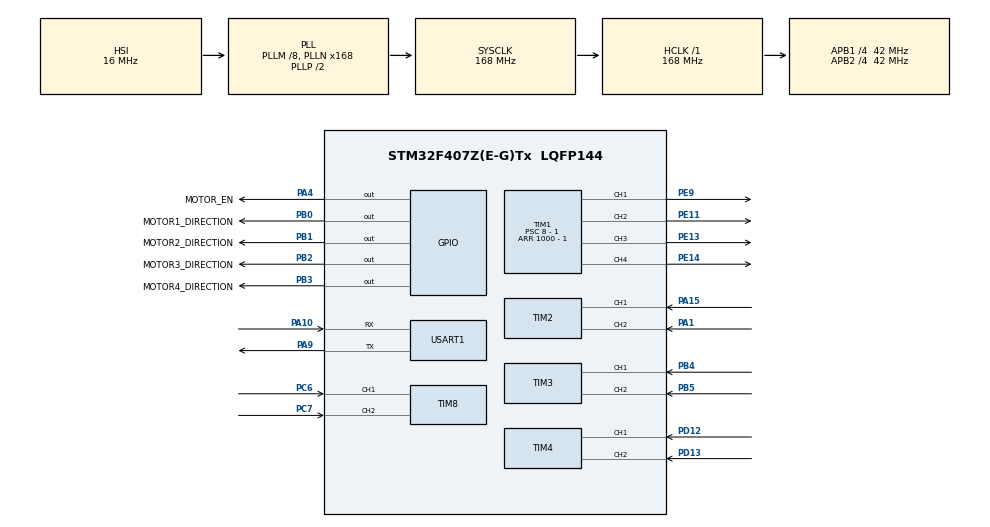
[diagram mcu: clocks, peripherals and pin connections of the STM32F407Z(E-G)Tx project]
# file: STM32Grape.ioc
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FREERTOS.Mutexes01=debugUartMutex,Dynamic,NULL
FREERTOS.Tasks01=defaultTask,24,128,StartDefaultTask,Default,NULL,Dynamic,NULL,NULL;robotMotion,24,1024,RobotMotion,Default,NULL,Dynamic,NULL,NULL
Mcu.Family=STM32F4
Mcu.Name=STM32F407Z(E-G)Tx
Mcu.Package=LQFP144
NVIC.PriorityGroup=NVIC_PRIORITYGROUP_4
NVIC.TIM6_DAC_IRQn=true\:15\:0\:false\:false\:true\:false\:false\:true
NVIC.TIM7_IRQn=true\:5\:0\:false\:false\:true\:true\:true\:true
NVIC.TimeBase=TIM6_DAC_IRQn
NVIC.TimeBaseIP=TIM6
NVIC.USART1_IRQn=true\:5\:0\:false\:false\:true\:true\:true\:true
PA1.Signal=S_TIM2_CH2
PA10.Mode=Asynchronous
PA10.Signal=USART1_RX
PA13.Mode=Serial_Wire
PA13.Signal=SYS_JTMS-SWDIO
PA14.Mode=Serial_Wire
PA14.Signal=SYS_JTCK-SWCLK
PA15.Signal=S_TIM2_CH1_ETR
PA4.GPIO_Label=MOTOR_EN
PA4.GPIO_Speed=GPIO_SPEED_FREQ_LOW
PA4.Signal=GPIO_Output
PA9.Mode=Asynchronous
PA9.Signal=USART1_TX
PB0.GPIO_Label=MOTOR1_DIRECTION
PB0.GPIO_Speed=GPIO_SPEED_FREQ_VERY_HIGH
PB0.Signal=GPIO_Output
PB1.GPIO_Label=MOTOR2_DIRECTION
PB1.GPIO_Speed=GPIO_SPEED_FREQ_VERY_HIGH
PB1.Signal=GPIO_Output
PB2.GPIO_Label=MOTOR3_DIRECTION
PB2.GPIO_Speed=GPIO_SPEED_FREQ_VERY_HIGH
PB2.Signal=GPIO_Output
PB3.GPIO_Label=MOTOR4_DIRECTION
PB3.GPIO_Speed=GPIO_SPEED_FREQ_VERY_HIGH
PB3.Signal=GPIO_Output
PB4.Signal=S_TIM3_CH1
PB5.Signal=S_TIM3_CH2
PC6.Signal=S_TIM8_CH1
PC7.Signal=S_TIM8_CH2
PD12.Signal=S_TIM4_CH1
PD13.Signal=S_TIM4_CH2
PE11.Signal=S_TIM1_CH2
PE13.Signal=S_TIM1_CH3
PE14.Signal=S_TIM1_CH4
PE9.Signal=S_TIM1_CH1
PH0-OSC_IN.Mode=HSE-External-Oscillator
PH0-OSC_IN.Signal=RCC_OSC_IN
PH1-OSC_OUT.Mode=HSE-External-Oscillator
PH1-OSC_OUT.Signal=RCC_OSC_OUT
ProjectManager.HeapSize=0x200
ProjectManager.StackSize=0x400
ProjectManager.TargetToolchain=STM32CubeIDE
RCC.48MHZClocksFreq_Value=84000000
RCC.AHBFreq_Value=168000000
RCC.APB1CLKDivider=RCC_HCLK_DIV4
RCC.APB1Freq_Value=42000000
RCC.APB1TimFreq_Value=84000000
RCC.APB2CLKDivider=RCC_HCLK_DIV4
RCC.APB2Freq_Value=42000000
RCC.APB2TimFreq_Value=84000000
RCC.CortexFreq_Value=168000000
RCC.HCLKFreq_Value=168000000
RCC.HSE_VALUE=25000000
RCC.HSI_VALUE=16000000
RCC.LSE_VALUE=32768
RCC.PLLM=8
RCC.PLLN=168
RCC.SYSCLKFreq_VALUE=168000000
RCC.SYSCLKSource=RCC_SYSCLKSOURCE_PLLCLK
RCC.VCOOutputFreq_Value=336000000
SH.S_TIM1_CH1.0=TIM1_CH1,PWM Generation1 CH1
SH.S_TIM1_CH2.0=TIM1_CH2,PWM Generation2 CH2
SH.S_TIM1_CH3.0=TIM1_CH3,PWM Generation3 CH3
SH.S_TIM1_CH4.0=TIM1_CH4,PWM Generation4 CH4
SH.S_TIM2_CH1_ETR.0=TIM2_CH1,Encoder_Interface
SH.S_TIM2_CH2.0=TIM2_CH2,Encoder_Interface
SH.S_TIM3_CH1.0=TIM3_CH1,Encoder_Interface
SH.S_TIM3_CH2.0=TIM3_CH2,Encoder_Interface
SH.S_TIM4_CH1.0=TIM4_CH1,Encoder_Interface
SH.S_TIM4_CH2.0=TIM4_CH2,Encoder_Interface
SH.S_TIM8_CH1.0=TIM8_CH1,Encoder_Interface
SH.S_TIM8_CH2.0=TIM8_CH2,Encoder_Interface
TIM1.Channel-PWM\ Generation1\ CH1=TIM_CHANNEL_1
TIM1.Channel-PWM\ Generation2\ CH2=TIM_CHANNEL_2
TIM1.Channel-PWM\ Generation3\ CH3=TIM_CHANNEL_3
TIM1.Channel-PWM\ Generation4\ CH4=TIM_CHANNEL_4
TIM1.Period=1000 - 1
TIM1.Prescaler=8 - 1
TIM2.EncoderMode=TIM_ENCODERMODE_TI12
TIM3.EncoderMode=TIM_ENCODERMODE_TI12
TIM4.EncoderMode=TIM_ENCODERMODE_TI12
TIM7.Period=1000 - 1
TIM7.Prescaler=84 - 1
TIM8.EncoderMode=TIM_ENCODERMODE_TI12
USART1.VirtualMode=VM_ASYNC
VP_FREERTOS_VS_CMSIS_V2.Mode=CMSIS_V2
VP_SYS_VS_tim6.Mode=TIM6
VP_TIM1_VS_ClockSourceINT.Mode=Internal
VP_TIM7_VS_ClockSourceINT.Mode=Enable_Timer
board=custom

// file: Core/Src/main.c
/* USER CODE BEGIN Header */
/**
  ******************************************************************************
  * @file           : main.c
  * @brief          : Main program body
  ******************************************************************************
  * @attention
  *
  * Copyright (c) 2023 STMicroelectronics.
  * All rights reserved.
  *
  * This software is licensed under terms that can be found in the LICENSE file
  * in the root directory of this software component.
  * If no LICENSE file comes with this software, it is provided AS-IS.
  *
  ******************************************************************************
  */
/* USER CODE END Header */
#include "main.h"
#include "cmsis_os.h"
#include "tim.h"
#include "usart.h"
#include "gpio.h"

void SystemClock_Config(void);
void MX_FREERTOS_Init(void);

/* USER CODE BEGIN 0 */

void HAL_UART_RxHalfCpltCallback(UART_HandleTypeDef* huart)
{

}

void HAL_UART_RxCpltCallback(UART_HandleTypeDef* huart)
{
    if (huart->Instance == USART1) {
        Robot_RxCpltCallback();
    }
}

/* USER CODE END 0 */

int main(void)
{

  /* MCU Configuration--------------------------------------------------------*/

  /* Reset of all peripherals, Initializes the Flash interface and the Systick. */
  HAL_Init();

  /* Configure the system clock */
  SystemClock_Config();

  /* Initialize all configured peripherals */
  MX_GPIO_Init();
  MX_USART1_UART_Init();
  MX_TIM2_Init();
  MX_TIM3_Init();
  MX_TIM4_Init();
  MX_TIM8_Init();
  MX_TIM1_Init();
  MX_TIM7_Init();
  /* USER CODE BEGIN 2 */

    RobotInit();

    HAL_TIM_Base_Start_IT(&htim7);

    HAL_TIM_PWM_Start(&htim1, TIM_CHANNEL_1);
    HAL_TIM_PWM_Start(&htim1, TIM_CHANNEL_2);
    HAL_TIM_PWM_Start(&htim1, TIM_CHANNEL_3);
    HAL_TIM_PWM_Start(&htim1, TIM_CHANNEL_4);

    HAL_TIM_Encoder_Start(&htim2, TIM_CHANNEL_1 | TIM_CHANNEL_2);
    HAL_TIM_Encoder_Start(&htim3, TIM_CHANNEL_1 | TIM_CHANNEL_2);
    HAL_TIM_Encoder_Start(&htim4, TIM_CHANNEL_1 | TIM_CHANNEL_2);
    HAL_TIM_Encoder_Start(&htim8, TIM_CHANNEL_1 | TIM_CHANNEL_2);

    HAL_GPIO_WritePin(MOTOR_EN_GPIO_Port, MOTOR_EN_Pin, GPIO_PIN_SET); //电机驱动使能

  /* USER CODE END 2 */

  /* Init scheduler */
  osKernelInitialize();  /* Call init function for freertos objects (in freertos.c) */
  MX_FREERTOS_Init();
  /* Start scheduler */
  osKernelStart();

  /* We should never get here as control is now taken by the scheduler */
  /* Infinite loop */
  while (1)
  {

  }
}

void SystemClock_Config(void)
{
  RCC_OscInitTypeDef RCC_OscInitStruct = {0};
  RCC_ClkInitTypeDef RCC_ClkInitStruct = {0};

  /** Configure the main internal regulator output voltage
  */
  __HAL_RCC_PWR_CLK_ENABLE();
  __HAL_PWR_VOLTAGESCALING_CONFIG(PWR_REGULATOR_VOLTAGE_SCALE1);
  /** Initializes the RCC Oscillators according to the specified parameters
  * in the RCC_OscInitTypeDef structure.
  */
  RCC_OscInitStruct.OscillatorType = RCC_OSCILLATORTYPE_HSI;
  RCC_OscInitStruct.HSIState = RCC_HSI_ON;
  RCC_OscInitStruct.HSICalibrationValue = RCC_HSICALIBRATION_DEFAULT;
  RCC_OscInitStruct.PLL.PLLState = RCC_PLL_ON;
  RCC_OscInitStruct.PLL.PLLSource = RCC_PLLSOURCE_HSI;
  RCC_OscInitStruct.PLL.PLLM = 8;
  RCC_OscInitStruct.PLL.PLLN = 168;
  RCC_OscInitStruct.PLL.PLLP = RCC_PLLP_DIV2;
  RCC_OscInitStruct.PLL.PLLQ = 4;
  if (HAL_RCC_OscConfig(&RCC_OscInitStruct) != HAL_OK)
  {
    Error_Handler();
  }
  /** Initializes the CPU, AHB and APB buses clocks
  */
  RCC_ClkInitStruct.ClockType = RCC_CLOCKTYPE_HCLK|RCC_CLOCKTYPE_SYSCLK
                              |RCC_CLOCKTYPE_PCLK1|RCC_CLOCKTYPE_PCLK2;
  RCC_ClkInitStruct.SYSCLKSource = RCC_SYSCLKSOURCE_PLLCLK;
  RCC_ClkInitStruct.AHBCLKDivider = RCC_SYSCLK_DIV1;
  RCC_ClkInitStruct.APB1CLKDivider = RCC_HCLK_DIV4;
  RCC_ClkInitStruct.APB2CLKDivider = RCC_HCLK_DIV4;

  if (HAL_RCC_ClockConfig(&RCC_ClkInitStruct, FLASH_LATENCY_5) != HAL_OK)
  {
    Error_Handler();
  }
}

void HAL_TIM_PeriodElapsedCallback(TIM_HandleTypeDef *htim)
{
  if (htim->Instance == TIM6) {
    HAL_IncTick();
  }
  /* USER CODE BEGIN Callback 1 */

  if (htim->Instance == TIM7) { //采集编码器，执行pid算法
    RobotTick();

  }
  /* USER CODE END Callback 1 */
}

void Error_Handler(void)
{
  __disable_irq();
  while (1)
  {
  }
}

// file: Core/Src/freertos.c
/* USER CODE BEGIN Header */
/**
  ******************************************************************************
  * File Name          : freertos.c
  * Description        : Code for freertos applications
  ******************************************************************************
  * @attention
  *
  * Copyright (c) 2023 STMicroelectronics.
  * All rights reserved.
  *
  * This software is licensed under terms that can be found in the LICENSE file
  * in the root directory of this software component.
  * If no LICENSE file comes with this software, it is provided AS-IS.
  *
  ******************************************************************************
  */
/* USER CODE END Header */

#include "FreeRTOS.h"
#include "task.h"
#include "main.h"
#include "cmsis_os.h"

/* USER CODE BEGIN Includes */

#include "message_buffer.h"
#include "robot.h"

/* USER CODE END Includes */

/* Definitions for defaultTask */
osThreadId_t defaultTaskHandle;
const osThreadAttr_t defaultTask_attributes = {
  .name = "defaultTask",
  .stack_size = 128 * 4,
  .priority = (osPriority_t) osPriorityNormal,
};
/* Definitions for robotMotion */
osThreadId_t robotMotionHandle;
const osThreadAttr_t robotMotion_attributes = {
  .name = "robotMotion",
  .stack_size = 1024 * 4,
  .priority = (osPriority_t) osPriorityNormal,
};
/* Definitions for debugUartMutex */
osMutexId_t debugUartMutexHandle;
const osMutexAttr_t debugUartMutex_attributes = {
  .name = "debugUartMutex"
};

/* USER CODE BEGIN FunctionPrototypes */

int startsWith(const char* str1, const char* str2)
{
    int len1 = strlen(str1), len2 = strlen(str2);
    if (len1 < len2) return 0;
    for (int i = 0; i < len2; ++i) {
        if (str1[i] != str2[i]) return 0;
    }
    return 1;
}

/* USER CODE END FunctionPrototypes */

void StartDefaultTask(void *argument);
void RobotMotion(void *argument);

void MX_FREERTOS_Init(void); /* (MISRA C 2004 rule 8.1) */

void MX_FREERTOS_Init(void) {
  /* Create the mutex(es) */
  /* creation of debugUartMutex */
  debugUartMutexHandle = osMutexNew(&debugUartMutex_attributes);

  /* USER CODE BEGIN RTOS_QUEUES */
  messageBufferHandle = xMessageBufferCreate(1024);
  /* add queues, ... */
  /* USER CODE END RTOS_QUEUES */

  /* Create the thread(s) */
  /* creation of defaultTask */
  defaultTaskHandle = osThreadNew(StartDefaultTask, NULL, &defaultTask_attributes);

  /* creation of robotMotion */
  robotMotionHandle = osThreadNew(RobotMotion, NULL, &robotMotion_attributes);

}

void StartDefaultTask(void *argument)
{
  /* USER CODE BEGIN StartDefaultTask */
  /* Infinite loop */
  for(int cnt = 0;;++cnt)
  {
      xSemaphoreTake(debugUartMutexHandle, portMAX_DELAY);
      char buff[128] = {};
      snprintf(buff, 128, "cnt:%d\r\n", cnt);
      HAL_UART_Transmit(&huart1, buff, strlen(buff), 100);
      xSemaphoreGive(debugUartMutexHandle);

    osDelay(1000);
  }
  /* USER CODE END StartDefaultTask */
}

void RobotMotion(void *argument)
{
  /* USER CODE BEGIN RobotMotion */
  /* Infinite loop */

    osDelay(1000);

    /* Infinite loop */
    for(;;)
    {
        if (HAL_UART_STATE_READY == HAL_UART_GetState(&huart1)) {
            HAL_UART_Receive_IT(&huart1, robotRecvBuff + robotRecvOffset, 1);
        }
        char message[128] = {0};
        xMessageBufferReceive(messageBufferHandle, message, 128, portMAX_DELAY);

        if (startsWith(message, "[MoveX]")) {
            double speed;
            sscanf(message, "[MoveX]speed=%lf", &speed);
            RobotMoveX(speed);
        } else if (startsWith(message, "[MoveY]")) {
            double speed;
            sscanf(message, "[MoveY]speed=%lf", &speed);
            RobotMoveY(speed);
        } else if (startsWith(message, "[MoveZ]")) {
            double speed;
            sscanf(message, "[MoveZ]speed=%lf", &speed);
            RobotMoveZ(speed);
        } else if (startsWith(message, "[Stop]")) {
            RobotStop();
        } else if (startsWith(message, "[Move]")) {
            double speed, xDis, yDis;
            sscanf(message, "[Move]speed=%lf xDis=%lf yDis=%lf", &speed, &xDis, &yDis);
            RobotMove(speed, xDis, yDis);
            //移动结束发送OK
            portENTER_CRITICAL();
            char msgOK[] = "[Motion]OK\r\n";
            xSemaphoreTake(debugUartMutexHandle, portMAX_DELAY); //获取串口调试资源
            HAL_UART_Transmit(&huart1, msgOK, strlen(msgOK), 100);
            xSemaphoreGive(debugUartMutexHandle); //释放串口调试资源
            portEXIT_CRITICAL();
        }

        osDelay(1);
    }

  /* USER CODE END RobotMotion */
}
